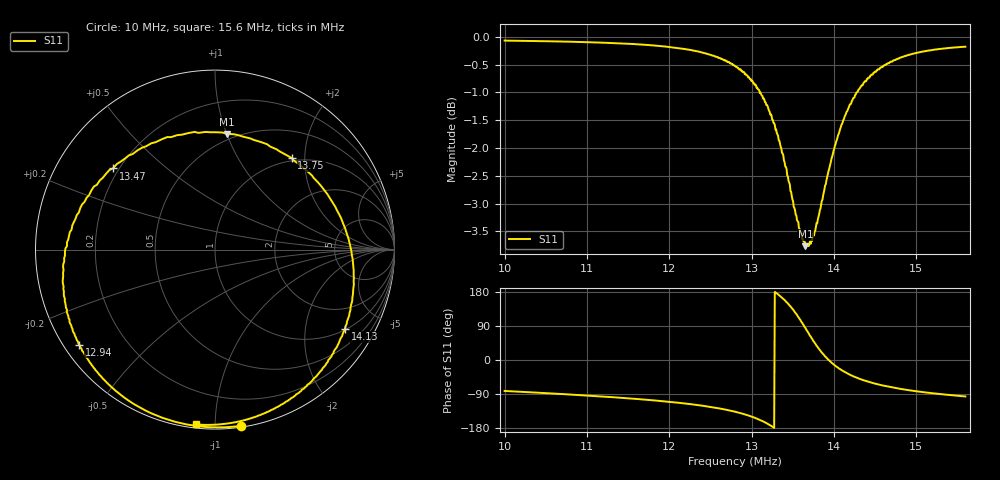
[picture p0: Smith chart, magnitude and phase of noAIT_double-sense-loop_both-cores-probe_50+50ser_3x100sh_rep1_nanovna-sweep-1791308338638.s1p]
! NanoVNA Web complex sweep
! Processing: unaveraged complex samples; linear segment spacing; no smoothing
# Hz S RI R 50
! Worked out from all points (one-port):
!   707 points, 10 MHz to 15.6 MHz, reference 50 ohm
!   lowest |S11| = -3.8 dB at 13.66 MHz (marker M1), VSWR 4.68, Z = 22.5 + j49.9 ohm
!   |S11| at or under -10 dB: nowhere
!   S11 on the Smith chart (normalised r, x): 10 MHz: 0.01, -1.16; 12.94 MHz: 0.04, -0.31; 13.47 MHz: 0.18, +0.34; 13.75 MHz: 0.95, +1.74; 14.13 MHz: 1.04, -3.26; 15.6 MHz: 0.02, -0.90
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1e7  0.1437 -0.9821
1.070568e7  0.00115 -0.9905
1.140343e7  -0.1638 -0.973
1.210118e7  -0.3757 -0.9023
1.249764e7  -0.5349 -0.8018
1.279894e7  -0.6824 -0.6485
1.294166e7  -0.7568 -0.5295
1.310817e7  -0.8307 -0.3232
1.325882e7  -0.8404 -0.0474
1.336982e7  -0.7586 0.2066
1.342533e7  -0.6746 0.3516
1.34729e7  -0.5688 0.4519
1.350462e7  -0.4803 0.5245
1.358391e7  -0.2099 0.6379
1.365527e7  0.0642 0.6448
1.370284e7  0.2582 0.5984
1.375042e7  0.4278 0.5098
1.382971e7  0.6271 0.3077
1.391693e7  0.7441 0.06
1.401207e7  0.7739 -0.193
1.413101e7  0.724 -0.4416
1.420237e7  0.67 -0.5547
1.432923e7  0.5682 -0.7012
1.447988e7  0.4481 -0.8127
1.467018e7  0.312 -0.894
1.490012e7  0.1779 -0.9465
1.522521e7  0.0275 -0.9736
1.559787e7  -0.1053 -0.9742
